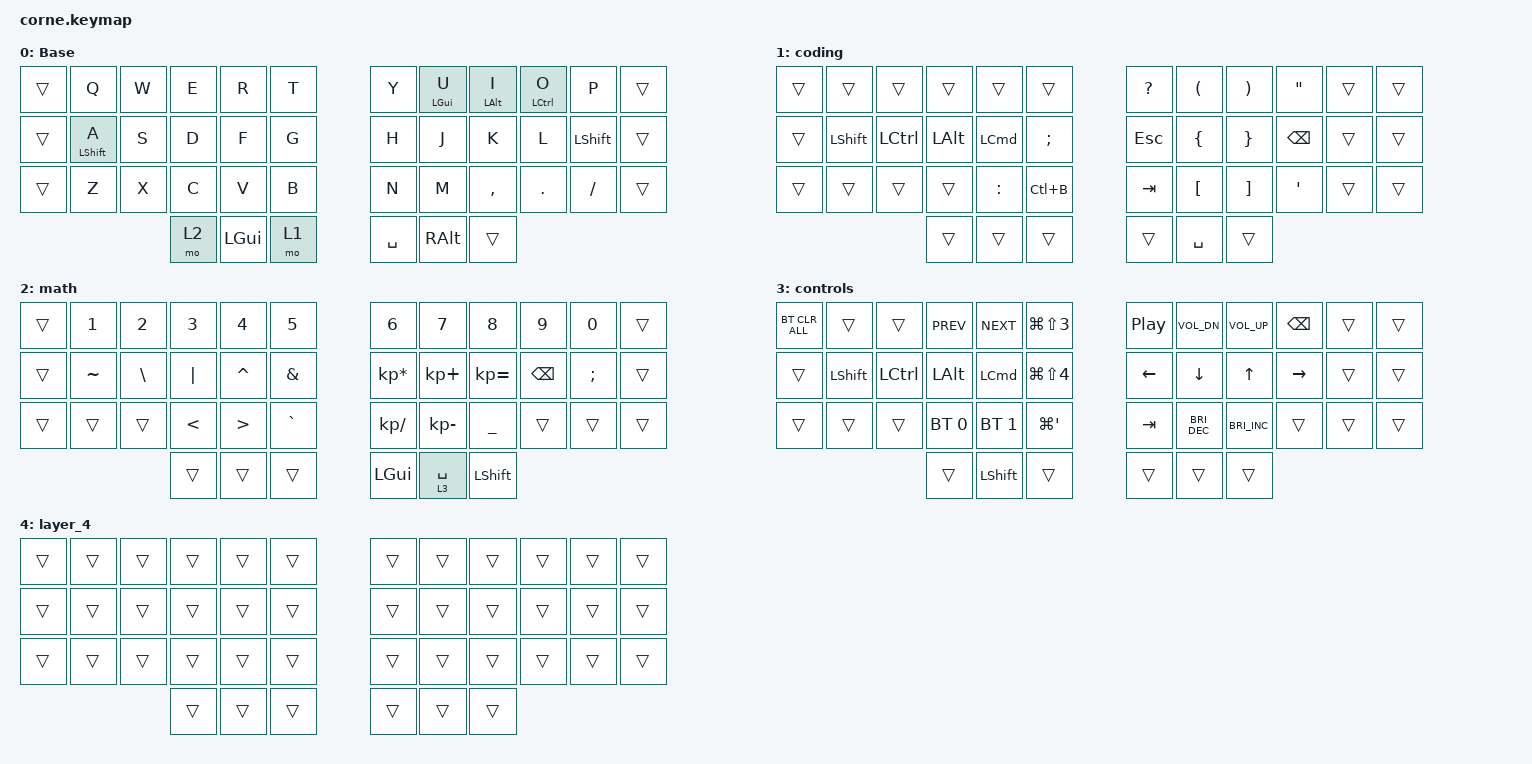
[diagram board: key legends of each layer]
/*
 * Copyright (c) 2020 The ZMK Contributors
 *
 * SPDX-License-Identifier: MIT
 */

#include <behaviors.dtsi>
#include <dt-bindings/zmk/bt.h>
#include <dt-bindings/zmk/keys.h>

/ {
    combos {
        compatible = "zmk,combos";

        mouseless {
            bindings = <&kp RIGHT_COMMAND>;
            key-positions = <38 39>;
        };

        enter {
            bindings = <&kp ENTER>;
            key-positions = <27 28>;
        };
    };

    macros {
        layer2cmd: layer2cmd {
            compatible = "zmk,behavior-macro";
            #binding-cells = <0>;
            bindings = <&kp LGUI &mo 2>;
            label = "LAYER2CMD";
        };
    };

    behaviors {
        kp_tap: kp_tap {
            compatible = "zmk,behavior-hold-tap";
            label = "KP_TAP";
            bindings = <&kp>, <&kp>;

            #binding-cells = <2>;
            tapping-term-ms = <200>;
            quick-tap-ms = <200>;
            flavor = "tap-preferred";
        };

        mohold: mohold {
            compatible = "zmk,behavior-hold-tap";
            label = "MOHOLD";
            bindings = <&mo>, <&kp>;

            #binding-cells = <2>;
            tapping-term-ms = <200>;
            quick-tap-ms = <200>;
            flavor = "tap-preferred";
        };

        numcmd: numcmd {
            compatible = "zmk,behavior-hold-tap";
            label = "NUMCMD";
            bindings = <&layer2cmd>, <&kp>;

            #binding-cells = <2>;
            tapping-term-ms = <200>;
            quick-tap-ms = <200>;
            flavor = "tap-preferred";
        };
    };

    keymap {
        compatible = "zmk,keymap";

        default_layer {
            // -----------------------------------------------------------------------------------------
            // |  TAB |  Q  |  W  |  E  |  R  |  T  |   |  Y  |  U   |  I  |  O  |  P  | BKSP |
            // | CTRL |  A  |  S  |  D  |  F  |  G  |   |  H  |  J   |  K  |  L  |  ;  |  '   |
            // | SHFT |  Z  |  X  |  C  |  V  |  B  |   |  N  |  M   |  ,  |  .  |  /  | ESC  |
            //                    | GUI | LWR | SPC |   | ENT | RSE  | ALT |

            display-name = "Base";
            bindings = <
&trans  &kp Q                 &kp W  &kp E  &kp R     &kp T    &kp Y      &kp_tap LGUI U  &kp_tap LALT I  &kp_tap LCTRL O  &kp P           &trans
&trans  &kp_tap LEFT_SHIFT A  &kp S  &kp D  &kp F     &kp G    &kp H      &kp J           &kp K           &kp L            &kp LEFT_SHIFT  &trans
&trans  &kp Z                 &kp X  &kp C  &kp V     &kp B    &kp N      &kp M           &kp COMMA       &kp PERIOD       &kp FSLH        &trans
                                     &mo 2  &kp LGUI  &mo 1    &kp SPACE  &kp RIGHT_ALT   &trans
            >;
        };

        coding {
            bindings = <
&trans  &trans          &trans     &trans        &trans            &trans       &kp QUESTION  &kp LEFT_PARENTHESIS  &kp RIGHT_PARENTHESIS  &kp DOUBLE_QUOTES  &trans  &trans
&trans  &kp LEFT_SHIFT  &kp LCTRL  &kp LEFT_ALT  &kp LEFT_COMMAND  &kp SEMI     &kp ESCAPE    &kp LEFT_BRACE        &kp RIGHT_BRACE        &kp BACKSPACE      &trans  &trans
&trans  &trans          &trans     &trans        &kp COLON         &kp LC(B)    &kp TAB       &kp LEFT_BRACKET      &kp RIGHT_BRACKET      &kp SINGLE_QUOTE   &trans  &trans
                                   &trans        &trans            &trans       &trans        &kp SPACE             &trans
            >;
        };

        math {
            bindings = <
&trans  &kp N1     &kp N2         &kp N3         &kp N4            &kp N5           &kp N6           &kp N7           &kp N8          &kp N9         &kp N0         &trans
&trans  &kp TILDE  &kp BACKSLASH  &kp PIPE       &kp CARET         &kp AMPERSAND    &kp KP_ASTERISK  &kp KP_PLUS      &kp KP_EQUAL    &kp BACKSPACE  &kp SEMICOLON  &trans
&trans  &trans     &trans         &kp LESS_THAN  &kp GREATER_THAN  &kp GRAVE        &kp KP_SLASH     &kp KP_MINUS     &kp UNDERSCORE  &trans         &trans         &trans
                                  &trans         &trans            &trans           &kp LGUI         &mohold 3 SPACE  &kp LEFT_SHIFT
            >;
        };

        controls {
            bindings = <
&bt BT_CLR_ALL  &trans          &trans            &kp C_PREV    &kp C_NEXT        &kp LG(LS(NUMBER_3))    &kp C_PP  &kp C_VOL_DN          &kp C_VOLUME_UP       &kp BACKSPACE  &trans  &trans
&trans          &kp LEFT_SHIFT  &kp LEFT_CONTROL  &kp LEFT_ALT  &kp LEFT_COMMAND  &kp LG(LS(NUMBER_4))    &kp LEFT  &kp DOWN              &kp UP                &kp RIGHT      &trans  &trans
&trans          &trans          &trans            &bt BT_SEL 0  &bt BT_SEL 1      &kp LG(SQT)             &kp TAB   &kp C_BRIGHTNESS_DEC  &kp C_BRIGHTNESS_INC  &trans         &trans  &trans
                                                  &trans        &kp LEFT_SHIFT    &trans                  &trans    &trans                &trans
            >;
        };

        layer_4 {
            bindings = <
&trans  &trans  &trans  &trans  &trans  &trans    &trans  &trans  &trans  &trans  &trans  &trans
&trans  &trans  &trans  &trans  &trans  &trans    &trans  &trans  &trans  &trans  &trans  &trans
&trans  &trans  &trans  &trans  &trans  &trans    &trans  &trans  &trans  &trans  &trans  &trans
                        &trans  &trans  &trans    &trans  &trans  &trans
            >;
        };
    };
};
